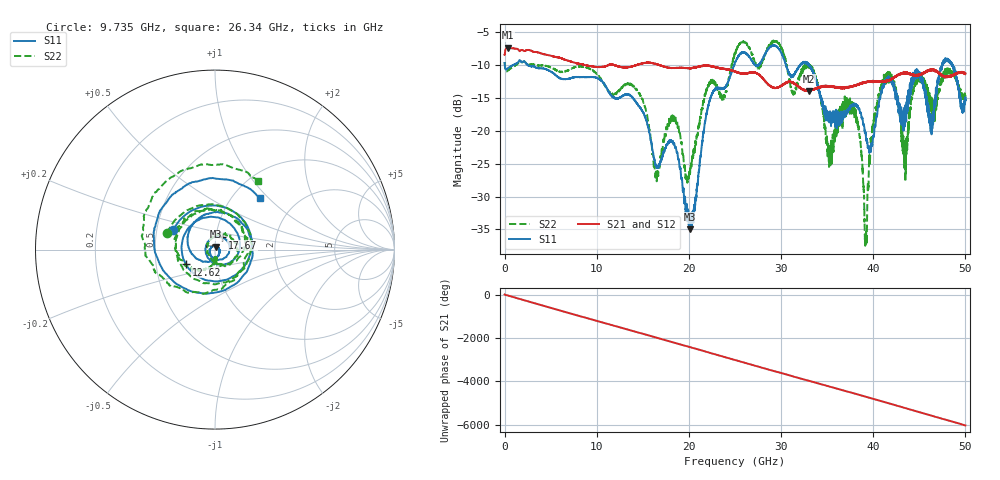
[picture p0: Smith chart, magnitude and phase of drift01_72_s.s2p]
!Created with skrf (http://scikit-rf.org).
# Hz S RI R 50.0
!freq ReS11 ImS11 ReS21 ImS21 ReS12 ImS12 ReS22 ImS22
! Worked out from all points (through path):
!   10001 points, 300 kHz to 50 GHz, reference 50 ohm
!   highest |S21| = -7.33 dB at 325.3 MHz (marker M1); lowest = -13.9 dB at 33.02 GHz (marker M2)
!   group delay of S21, straight-line fit = 335 ps
!   lowest |S11| = -35.0 dB at 20.15 GHz (marker M3), VSWR 1.04, Z = 50.7 + j1.66 ohm
!   |S11| at or under -10 dB: 2.556 GHz to 24.89 GHz (22.33 GHz wide, 163 % of centre); 30.54 GHz to 32.04 GHz (1.496 GHz wide, 4.78 % of centre); 33.07 GHz to 47.46 GHz (14.38 GHz wide, 35.7 % of centre) (the widest 3 of 20)
!   |S22| runs from -37.6 to -6.2 dB; largest |S21 - S12| = 0.01
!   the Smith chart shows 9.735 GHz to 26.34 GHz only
!   S11 on the Smith chart (normalised r, x): 9.735 GHz: 0.61, +0.15; 12.62 GHz: 0.71, -0.12; 17.67 GHz: 1.07, +0.15; 26.34 GHz: 1.33, +0.89
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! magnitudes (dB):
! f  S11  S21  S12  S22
! 300 kHz  -9.6  -8.4  -8.5  -9.5
! 325.3 MHz  -10.5  -7.3  -7.3  -10.9
! 8.335 GHz  -11.8  -9.8  -9.8  -10.2
! 9.735 GHz  -11.8  -10.2  -10.2  -10.9
! 12.62 GHz  -14.9  -10.3  -10.3  -13.6
! 16.67 GHz  -25.6  -9.9  -9.9  -26.9
! 17.67 GHz  -22.0  -10.3  -10.3  -19.3
! 20.15 GHz  -35.0  -10.5  -10.4  -25.6
! 22.25 GHz  -15.3  -10.1  -10.1  -12.7
! 25 GHz  -9.6  -10.9  -11.0  -8.2
! 26.34 GHz  -8.4  -11.2  -11.2  -6.9
! 33.02 GHz  -9.9  -13.9  -13.8  -10.1
! 33.34 GHz  -10.7  -13.7  -13.7  -10.7
! 35.28 GHz  -17.8  -13.2  -13.2  -22.6
! 37.95 GHz  -15.9  -13.1  -13.1  -17.9
! 39.21 GHz  -20.9  -12.6  -12.6  -36.2
! 40.1 GHz  -20.4  -12.5  -12.5  -17.4
! 41.67 GHz  -11.7  -12.3  -12.3  -12.0
! 43.45 GHz  -17.7  -11.3  -11.3  -22.1
! 44.87 GHz  -10.9  -11.5  -11.5  -12.2
! 46.27 GHz  -19.7  -10.6  -10.7  -15.8
! 50 GHz  -15.3  -11.2  -11.2  -14.9
